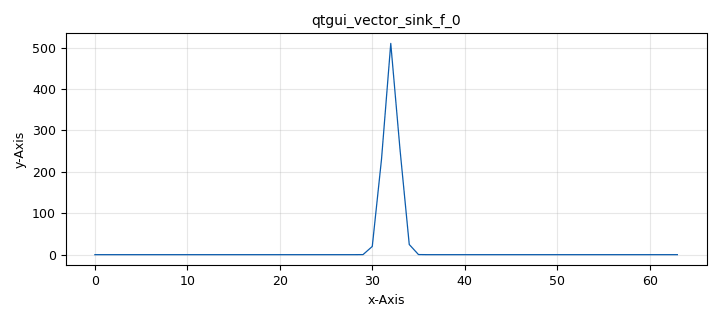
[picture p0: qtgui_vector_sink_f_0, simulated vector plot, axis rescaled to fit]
options:
  parameters:
    generate_options: qt_gui
    id: test_tag
    output_language: python
    title: Not titled yet
  states: {}

blocks:
- name: samp_rate
  id: variable
  parameters:
    value: 2e6
  states: {}
- name: analog_sig_source_x_0
  id: analog_sig_source_x
  parameters:
    amp: '1'
    freq: '1000'
    offset: '0'
    phase: '0'
    samp_rate: samp_rate
    type: complex
    waveform: analog.GR_COS_WAVE
  states: {}
- name: blocks_complex_to_mag_squared_0
  id: blocks_complex_to_mag_squared
  parameters:
    vlen: '64'
  states: {}
- name: blocks_file_sink_0
  id: blocks_file_sink
  parameters:
    file: /tmp/b.out
    type: float
    vlen: '64'
  states: {}
- name: blocks_stream_to_tagged_stream_0
  id: blocks_stream_to_tagged_stream
  parameters:
    len_tag_key: '"burst"'
    packet_len: '64'
    type: complex
  states: {}
- name: blocks_stream_to_vector_0
  id: blocks_stream_to_vector
  parameters:
    num_items: '64'
    type: complex
  states: {}
- name: blocks_throttle2_0
  id: blocks_throttle2
  parameters:
    samples_per_second: samp_rate
    type: complex
  states: {}
- name: fft_vxx_0
  id: fft_vxx
  parameters:
    fft_size: '64'
    forward: 'True'
    shift: 'True'
    type: complex
    window: window.blackmanharris(64)
  states: {}
- name: qtgui_vector_sink_f_0
  id: qtgui_vector_sink_f
  parameters:
    vlen: '64'
    x_start: '0'
    x_step: '1.0'
    ymax: '1'
    ymin: '-1'
  states: {}

connections:
- [analog_sig_source_x_0, '0', blocks_throttle2_0, '0']
- [blocks_complex_to_mag_squared_0, '0', blocks_file_sink_0, '0']
- [blocks_complex_to_mag_squared_0, '0', qtgui_vector_sink_f_0, '0']
- [blocks_stream_to_tagged_stream_0, '0', blocks_stream_to_vector_0, '0']
- [blocks_stream_to_vector_0, '0', fft_vxx_0, '0']
- [blocks_throttle2_0, '0', blocks_stream_to_tagged_stream_0, '0']
- [fft_vxx_0, '0', blocks_complex_to_mag_squared_0, '0']

metadata:
  file_format: 1
  grc_version: v3.10.9.2-39-gcf065ee5
